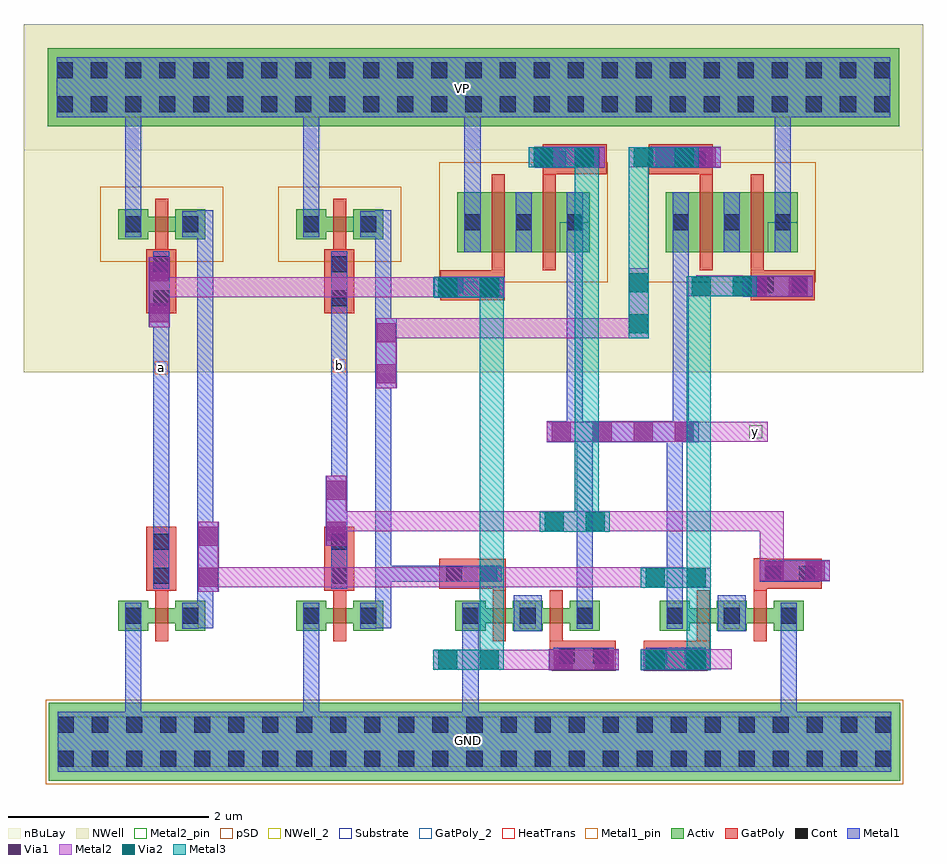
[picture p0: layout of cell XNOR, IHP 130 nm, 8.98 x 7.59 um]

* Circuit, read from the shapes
.subckt XNOR GND VP a b y
XM1 n1 a GND GND sg13_lv_nmos w=0.15u l=0.13u
XM2 n2 b GND GND sg13_lv_nmos w=0.15u l=0.13u
XM3 n3 n2 GND GND sg13_lv_nmos w=0.15u l=0.13u
XM4 y a n3 GND sg13_lv_nmos w=0.15u l=0.13u
XM5 n4 n1 y GND sg13_lv_nmos w=0.15u l=0.13u
XM6 GND b n4 GND sg13_lv_nmos w=0.15u l=0.13u
XM7 n1 a VP VP sg13_lv_pmos w=0.15u l=0.13u
XM8 n2 b VP VP sg13_lv_pmos w=0.15u l=0.13u
XM9 n5 a VP VP sg13_lv_pmos w=0.6u l=0.13u
XM10 y b n5 VP sg13_lv_pmos w=0.6u l=0.13u
XM11 n6 n2 y VP sg13_lv_pmos w=0.6u l=0.13u
XM12 VP n1 n6 VP sg13_lv_pmos w=0.6u l=0.13u
.ends

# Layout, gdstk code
from math import pi, radians
import gdstk
lib = gdstk.Library(unit=1e-6, precision=1e-09)
def R(c, l, rs):  # rectangles x0, y0, x1, y1
    for r in rs: c.add(gdstk.rectangle(r[:2], r[2:], *l))
def A(c, l, x, y, w, h, nx, ny, dx, dy):  # array of equal rectangles
    R(c, l, [(x+i*dx, y+j*dy, x+i*dx+w, y+j*dy+h) for i in range(nx) for j in range(ny)])
def P(c, l, *ps):  # polygons
    for p in ps: c.add(gdstk.Polygon(p, *l))
Activ = (1, 0)
GatPoly = (5, 0)
GatPoly_2 = (5, 2)
Cont = (6, 0)
Metal1 = (8, 0)
Metal1_pin = (8, 2)
Metal2 = (10, 0)
Metal2_pin = (10, 2)
pSD = (14, 0)
Via1 = (19, 0)
Via2 = (29, 0)
Metal3 = (30, 0)
NWell = (31, 0)
NWell_2 = (31, 2)
nBuLay = (32, 0)
Substrate = (40, 0)
HeatTrans = (51, 0)

pmos = lib.new_cell('pmos')
R(pmos, Activ, [(0,0,0.3,0.3), (0.57,0,0.87,0.3), (0,0.075,0.87,0.225)])
R(pmos, GatPoly, [(0.37,-0.105,0.5,0.405), (0.37,-0.105,0.5,0.405)])
R(pmos, Cont, [(0.07,0.07,0.23,0.23), (0.64,0.07,0.8,0.23)])
R(pmos, Metal1, [(0.07,0.02,0.23,0.28), (0.07,0.02,0.23,0.28), (0.64,0.02,0.8,0.28), (0.64,0.02,0.8,0.28)])
R(pmos, pSD, [(-0.18,-0.225,1.05,0.525)])
R(pmos, NWell, [(-0.31,-0.31,1.18,0.61)])
R(pmos, Substrate, [(0.57,0,0.87,0.3)])
R(pmos, HeatTrans, [(0.37,-0.105,0.5,0.405)])
pmos.add(gdstk.Label('pmos', (0.435,0.15), layer=63, texttype=0))
pmos.add(gdstk.Label('pmos', (0.435,0.15), layer=51, texttype=0))

ntap1 = lib.new_cell('ntap1')
R(ntap1, Activ, [(0,0,8.5,0.78)])
A(ntap1, Cont, 0.09, 0.14, 0.16, 0.16, 25, 2, 0.34, 0.34)
R(ntap1, Metal1, [(0.09,0.09,8.41,0.69)])
R(ntap1, Metal1_pin, [(0.09,0.09,8.41,0.69), (0.09,0.14,8.41,0.64)])
R(ntap1, NWell, [(-0.24,-0.24,8.74,1.02), (0,0,8.5,0.78)])
R(ntap1, NWell_2, [(0,0,8.5,0.78)])
R(ntap1, nBuLay, [(-0.24,-0.24,8.74,1.02)])
ntap1.add(gdstk.Label('well', (4.25,0.01), layer=31, texttype=0))
ntap1.add(gdstk.Label('well', (4.25,0.01), layer=63, texttype=0))

pmos_3 = lib.new_cell('pmos$3')
A(pmos_3, Activ, 0, 0, 0.3, 0.3, 3, 1, 0.51, 0)
R(pmos_3, Activ, [(0,0,1.32,0.6)])
R(pmos_3, GatPoly, [(0.34,-0.18,0.47,0.78), (0.34,-0.18,0.47,0.78), (0.85,-0.18,0.98,0.78)])
A(pmos_3, Cont, 0.07, 0.22, 0.16, 0.16, 3, 1, 0.51, 0)
R(pmos_3, Metal1, [(0.07,0,0.23,0.6), (0.07,0,0.23,0.6), (0.58,0,0.74,0.6), (0.58,0,0.74,0.6), (1.09,0,1.25,0.6)])
R(pmos_3, pSD, [(-0.18,-0.3,1.5,0.9)])
R(pmos_3, NWell, [(-0.31,-0.31,1.63,0.91)])
R(pmos_3, Substrate, [(1.02,0,1.32,0.3)])
R(pmos_3, HeatTrans, [(0.34,-0.18,0.47,0.78), (0.85,-0.18,0.98,0.78)])
pmos_3.add(gdstk.Label('pmos', (0.405,0.3), layer=63, texttype=0))
pmos_3.add(gdstk.Label('pmos', (0.405,0.3), layer=51, texttype=0))
pmos_3.add(gdstk.Label('pmos', (0.915,0.3), layer=51, texttype=0))

nmos = lib.new_cell('nmos')
R(nmos, Activ, [(0,0,0.3,0.3), (0.57,0,0.87,0.3), (0,0.075,0.87,0.225)])
R(nmos, GatPoly, [(0.37,-0.105,0.5,0.405)])
R(nmos, GatPoly_2, [(0.37,-0.105,0.5,0.405)])
R(nmos, Cont, [(0.07,0.07,0.23,0.23), (0.64,0.07,0.8,0.23)])
R(nmos, Metal1, [(0.07,0.02,0.23,0.28), (0.64,0.02,0.8,0.28)])
R(nmos, Metal1_pin, [(0.07,0.02,0.23,0.28), (0.64,0.02,0.8,0.28)])
R(nmos, HeatTrans, [(0.37,-0.105,0.5,0.405)])
nmos.add(gdstk.Label('nmos', (0.435,0.15), layer=63, texttype=0))
nmos.add(gdstk.Label('nmos', (0.435,0.15), layer=51, texttype=0))

nmos_5 = lib.new_cell('nmos$5')
A(nmos_5, Activ, 0, 0, 0.3, 0.3, 3, 1, 0.57, 0)
R(nmos_5, Activ, [(0,0.075,1.44,0.225)])
R(nmos_5, GatPoly, [(0.37,-0.105,0.5,0.405), (0.94,-0.105,1.07,0.405)])
R(nmos_5, GatPoly_2, [(0.37,-0.105,0.5,0.405)])
A(nmos_5, Cont, 0.07, 0.07, 0.16, 0.16, 3, 1, 0.57, 0)
A(nmos_5, Metal1, 0.07, 0.02, 0.16, 0.26, 3, 1, 0.57, 0)
R(nmos_5, Metal1_pin, [(0.07,0.02,0.23,0.28), (0.64,0.02,0.8,0.28)])
R(nmos_5, HeatTrans, [(0.37,-0.105,0.5,0.405), (0.94,-0.105,1.07,0.405)])
nmos_5.add(gdstk.Label('nmos', (0.435,0.15), layer=63, texttype=0))
nmos_5.add(gdstk.Label('nmos', (0.435,0.15), layer=51, texttype=0))
nmos_5.add(gdstk.Label('nmos', (1.005,0.15), layer=51, texttype=0))

via_6 = lib.new_cell('Via$6')
R(via_6, GatPoly, [(-0.15,-0.32,0.15,0.32)])
R(via_6, Cont, [(-0.08,-0.25,0.08,-0.09), (-0.08,0.09,0.08,0.25)])
R(via_6, Metal1, [(-0.08,-0.3,0.08,0.3)])

via_7 = lib.new_cell('Via$7')
R(via_7, Metal1, [(-0.76,-0.105,0.76,0.105)])
R(via_7, Metal2, [(-0.76,-0.1,0.76,0.1)])
A(via_7, Via1, -0.71, -0.095, 0.19, 0.19, 4, 1, 0.41, 0)

via_9 = lib.new_cell('Via$9')
R(via_9, Metal1, [(-0.35,-0.105,0.35,0.105)])
R(via_9, Metal2, [(-0.35,-0.1,0.35,0.1)])
R(via_9, Via1, [(-0.3,-0.095,-0.11,0.095), (0.11,-0.095,0.3,0.095)])

via = lib.new_cell('Via')
R(via, Metal2, [(-0.35,-0.1,0.35,0.1)])
R(via, Via2, [(-0.3,-0.095,-0.11,0.095), (0.11,-0.095,0.3,0.095)])
R(via, Metal3, [(-0.35,-0.1,0.35,0.1)])

ptap1 = lib.new_cell('ptap1')
R(ptap1, Activ, [(0,0,8.5,0.78)])
A(ptap1, Cont, 0.09, 0.14, 0.16, 0.16, 25, 2, 0.34, 0.34)
R(ptap1, Metal1, [(0.09,0.09,8.41,0.69), (0.09,0.14,8.41,0.64)])
R(ptap1, Metal1_pin, [(0.09,0.14,8.41,0.64)])
R(ptap1, pSD, [(-0.03,-0.03,8.53,0.81)])
R(ptap1, Substrate, [(0,0,8.5,0.78)])
ptap1.add(gdstk.Label('sub!', (4.25,0.01), layer=63, texttype=0))
ptap1.add(gdstk.Label('sub!', (4.25,0.01), layer=40, texttype=0))

xnor = lib.new_cell('XNOR')
R(xnor, GatPoly, [(5.14,-5.055,5.24,-4.76), (6.64,-5.055,6.74,-4.76), (7.18,-4.34,7.31,-4.24), (4.57,-4.275,4.7,-4.175), (7.18,-4.25,7.31,-3.935), (4.68,-4.24,4.7,-3.94)])
R(xnor, Metal1, [(2.68,-5.94,2.84,-4.95), (7.45,-5.94,7.61,-4.98), (0.9,-5.86,1.06,-5.03), (4.27,-5.77,4.43,-4.955), (4.27,-5.275,4.43,-4.635), (0.9,-5.155,1.06,-4.575), (2.68,-5.155,2.84,-4.575), (7.45,-5.145,7.61,-4.635), (4.78,-4.665,5.01,-4.615), (5.01,-4.665,5.06,-4.305), (6.82,-4.665,7.05,-4.615), (7.05,-4.665,7.1,-4.305), (1.63,-4.635,1.78,-4.375), (3.41,-4.635,3.56,-4.375), (4.78,-4.615,5.01,-4.355), (6.82,-4.615,7.05,-4.355), (5.41,-4.46,5.57,-4.32), (6.31,-4.44,6.47,-4.25), (1.62,-4.385,1.78,-2.985), (3.4,-4.385,3.56,-2.985), (5.41,-4.375,5.57,-3.715), (6.31,-4.375,6.47,-3.715), (4.78,-4.355,5.01,-4.305), (6.82,-4.355,7.05,-4.305), (3.4,-4.17,4.06,-4.01), (1.18,-3.825,1.34,-2.425), (2.96,-3.825,3.12,-2.425), (5.41,-3.795,5.57,-3.135), (6.31,-3.795,6.47,-3.135), (6.31,-3.725,6.47,-3.065), (5.41,-3.715,5.57,-3.055), (1.62,-3.38,1.78,-1.78), (5.41,-3.3,5.57,-2.67), (3.4,-3.24,3.56,-1.48), (6.31,-3.24,6.47,-2.67), (5.31,-2.775,5.47,-2.09), (6.37,-2.67,6.53,-2.05), (2.96,-2.55,3.12,-1.53), (1.18,-2.51,1.34,-1.5), (5.31,-2.09,5.47,-1.09), (6.37,-2.09,6.53,-1.09), (1.62,-2.04,1.78,-0.64), (3.4,-2.04,3.56,-0.64), (1.62,-1.86,1.78,-0.46), (3.4,-1.86,3.56,-0.46), (1.18,-1.56,1.34,-1.44), (2.96,-1.56,3.12,-1.44), (6.37,-1.33,6.53,-0.87), (5.31,-1.31,5.47,-0.87), (0.9,-0.57,1.06,-0.38), (2.68,-0.55,2.84,-0.38), (0.9,-0.46,1.06,0.39), (2.68,-0.46,2.84,0.39), (4.29,-0.37,4.45,-0.25), (7.39,-0.37,7.55,-0.23), (4.29,-0.27,4.45,0.49), (7.39,-0.27,7.55,0.51), (2.68,0.27,2.84,0.79), (0.9,0.39,1.06,0.75)])
P(xnor, Metal1, [(0.9,-0.4),(0.9,-0.4),(0.9,-0.4),(0.9,-0.4)])
R(xnor, Metal1_pin, [(4.265,-5.825,4.395,-5.695), (1.195,-2.1,1.325,-1.97), (2.975,-2.08,3.105,-1.95), (4.205,0.695,4.335,0.825)])
R(xnor, Metal2, [(4.68,-5.05,5.4,-4.85), (6.05,-5.045,6.81,-4.845), (6.64,-5.045,6.96,-4.845), (1.64,-4.225,4.15,-4.025), (3.97,-4.225,6.48,-4.025), (7.24,-4.05,7.48,-3.95), (7.24,-3.955,7.48,-3.485), (2.91,-3.665,5.42,-3.465), (4.97,-3.665,7.48,-3.465), (6.32,-2.77,7.32,-2.57), (3.59,-1.74,6.1,-1.54), (1.23,-1.33,3.74,-1.13), (1.48,-1.33,3.99,-1.13), (6.605,-1.31,7.07,-1.11)])
R(xnor, Metal2_pin, [(7.135,-2.735,7.265,-2.605)])
R(xnor, Metal3, [(6.51,-5.04,6.75,-3.035), (4.44,-4.905,4.68,-2.225), (6.51,-4.22,6.75,-2.215), (5.39,-3.635,5.63,-0.955), (6.51,-2.31,6.75,-1.22), (4.44,-2.225,4.68,-1.33), (5.93,-1.11,6.13,-1.01), (5.93,-1.03,6.13,0.16), (5.39,-0.955,5.63,0.07)])
R(xnor, NWell, [(-0.11,-2.08,8.87,0.37), (0.18,-1.74,8.17,0.76)])
xnor.add(gdstk.Reference(pmos, (2.61,-0.75)))
xnor.add(gdstk.Reference(ntap1, (0.13,0.38)))
xnor.add(gdstk.Reference(pmos_3, (6.3,-0.88)))
xnor.add(gdstk.Reference(nmos, (2.61,-4.66)))
xnor.add(gdstk.Reference(nmos_5, (4.2,-4.66)))
xnor.add(gdstk.Reference(nmos_5, (6.24,-4.66)))
xnor.add(gdstk.Reference(pmos, (0.83,-0.75)))
xnor.add(gdstk.Reference(pmos_3, (4.22,-0.88)))
xnor.add(gdstk.Reference(nmos, (0.83,-4.66)))
xnor.add(gdstk.Reference(via_6, (1.26,-3.94)))
xnor.add(gdstk.Reference(via_6, (1.26,-1.17)))
xnor.add(gdstk.Reference(via_6, (7.47,-1.21), rotation=pi/2))
xnor.add(gdstk.Reference(via_6, (5.39,0.05), rotation=pi/2))
xnor.add(gdstk.Reference(via_6, (6.45,0.05), rotation=pi/2))
xnor.add(gdstk.Reference(via_6, (5.48,-4.91), rotation=pi/2))
xnor.add(gdstk.Reference(via_6, (7.54,-4.09), rotation=pi/2))
xnor.add(gdstk.Reference(via_6, (4.36,-4.09), rotation=pi/2))
xnor.add(gdstk.Reference(via_6, (4.37,-1.21), rotation=pi/2))
xnor.add(gdstk.Reference(via_7, (5.87,-2.67)))
xnor.add(gdstk.Reference(via_6, (6.4,-4.91), rotation=pi/2))
xnor.add(gdstk.Reference(via_6, (3.04,-3.94)))
xnor.add(gdstk.Reference(via_6, (3.04,-1.17)))
xnor.add(gdstk.Reference(via_9, (1.24,-1.28), rotation=pi/2))
xnor.add(gdstk.Reference(via_9, (4.34,-1.23), rotation=pi))
xnor.add(gdstk.Reference(via, (4.33,-1.23)))
xnor.add(gdstk.Reference(via, (4.33,-4.95)))
xnor.add(gdstk.Reference(via_9, (5.48,-4.95)))
xnor.add(gdstk.Reference(via_9, (6.4,-4.95)))
xnor.add(gdstk.Reference(via_9, (1.73,-3.92), rotation=pi/2))
xnor.add(gdstk.Reference(via, (6.4,-4.95)))
xnor.add(gdstk.Reference(via, (6.4,-4.13)))
xnor.add(gdstk.Reference(via_9, (7.42,-1.22)))
xnor.add(gdstk.Reference(via_9, (3.01,-3.46), rotation=pi/2))
xnor.add(gdstk.Reference(via_9, (7.59,-4.06)))
xnor.add(gdstk.Reference(via, (5.39,-3.57)))
xnor.add(gdstk.Reference(via, (5.28,0.07)))
xnor.add(gdstk.Reference(via, (6.86,-1.22)))
xnor.add(gdstk.Reference(via_9, (3.51,-1.89), rotation=pi/2))
xnor.add(gdstk.Reference(via, (6.03,-1.39), rotation=pi/2))
xnor.add(gdstk.Reference(via_9, (5.34,0.07)))
xnor.add(gdstk.Reference(via_9, (6.5,0.07)))
xnor.add(gdstk.Reference(via, (6.28,0.07)))
xnor.add(gdstk.Reference(ptap1, (0.14,-6.16)))
xnor.add(gdstk.Label('y', (7.2,-2.67), layer=10, texttype=25))
xnor.add(gdstk.Label('GND', (4.33,-5.76), layer=8, texttype=25))
xnor.add(gdstk.Label('VP', (4.27,0.76), layer=8, texttype=25))
xnor.add(gdstk.Label('a', (1.26,-2.03), layer=8, texttype=25))
xnor.add(gdstk.Label('b', (3.04,-2.01), layer=8, texttype=25))

lib.write_gds('XNOR.gds')
